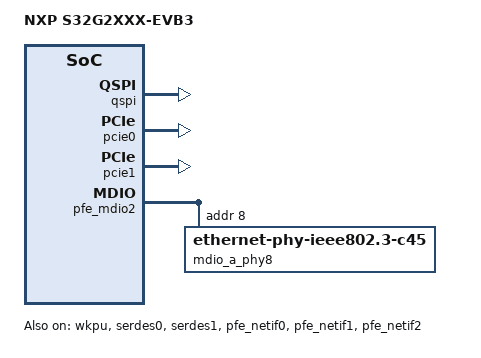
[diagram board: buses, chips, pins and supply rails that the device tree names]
// SPDX-License-Identifier: (GPL-2.0+ OR BSD-3-Clause)
/*
 * Copyright 2023-2024 NXP
 */

/dts-v1/;
#include "s32g.dtsi"
#include "s32g2.dtsi"
#include "s32gxxxa-evb.dtsi"

/ {
	model = "NXP S32G2XXX-EVB3";
};

&wkpu {
	status = "okay";
};

&qspi {
	status = "okay";
};

&pcie0 {
	status = "okay";
};

&pcie1 {
	status = "okay";
};

&serdes0 {
	status = "okay";
};

&serdes1 {
	status = "okay";
};

&pfe_mdio2 {
	status = "okay";
	/* AQR113 on S32G-PROCEVB3-S */
	mdio_a_phy8: ethernet-phy@8 {
		compatible = "ethernet-phy-ieee802.3-c45";
		reg = <8>;
	};
};

&pfe_netif0 {
	status = "okay";
	phy-mode = "sgmii";
	phy-handle = <&mdio_a_phy8>;
	fixed-link {
		speed = <1000>;
		full-duplex;
	};
};

&pfe_netif1 {
	status = "okay";
};

&pfe_netif2 {
	status = "okay";
};
